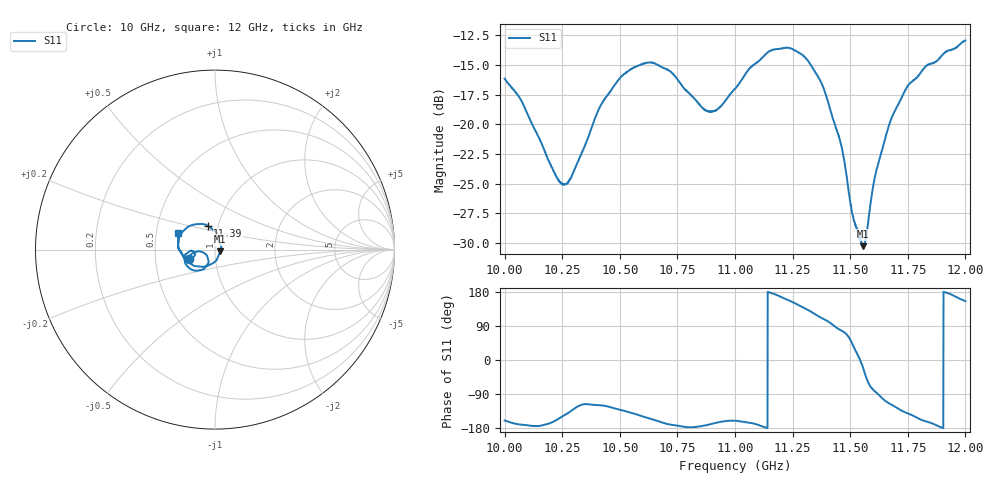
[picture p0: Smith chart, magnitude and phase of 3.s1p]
[Version] 2.0
! Rohde & Schwarz Vector Network Analyzer
! Rohde-Schwarz,ZNL20-2Port,1323001220200009,1.71.1.10-23.02.1.238
! Port Assignments:
! Nominal Port -> Actual Test Port
!  1 -> 1
! Created: GMT 2024-08-27 12:47:36
# Hz S DB R 50
[Number of Ports] 1
! freq[Hz]  S11[mag dB]  S11[ang]
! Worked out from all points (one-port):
!   2001 points, 10 GHz to 12 GHz, reference 50 ohm
!   lowest |S11| = -30.3 dB at 11.55 GHz (marker M1), VSWR 1.06, Z = 53 - j1.05 ohm
!   |S11| at or under -10 dB: start of sweep to end of sweep
!   S11 on the Smith chart (normalised r, x): 10 GHz: 0.74, -0.08; 11.39 GHz: 0.89, +0.24; 12 GHz: 0.65, +0.13
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[Number of Frequencies] 28
[Network Data]
1e10  -16.14 -159.7
1.0072e10  -17.98 -170.5
1.0219e10  -24.19 -160.1
1.025e10  -25.01 -149.2
1.0284e10  -24.59 -136.6
1.0411e10  -18.64 -119.3
1.05e10  -16.11 -131.2
1.0631e10  -14.78 -154.8
1.075e10  -16.19 -173.2
1.0887e10  -18.89 -170.4
1.093e10  -18.63 -164.0
1.1e10  -17.00 -160.2
1.1079e10  -15.02 -167.2
1.1145e10  -13.89 179.5
1.125e10  -13.65 152.7
1.1315e10  -14.60 132.5
1.1388e10  -17.13 107.0
1.1461e10  -21.79 77.9
1.15e10  -26.54 53.9
1.1518e10  -28.19 31.0
1.1555e10  -30.25 -18.8
1.1569e10  -29.49 -45.7
1.1607e10  -24.46 -82.3
1.1658e10  -20.73 -110.4
1.1685e10  -19.20 -119.9
1.175e10  -16.77 -141.0
1.1909e10  -13.98 179.2
1.2e10  -12.92 155.4
[End]
